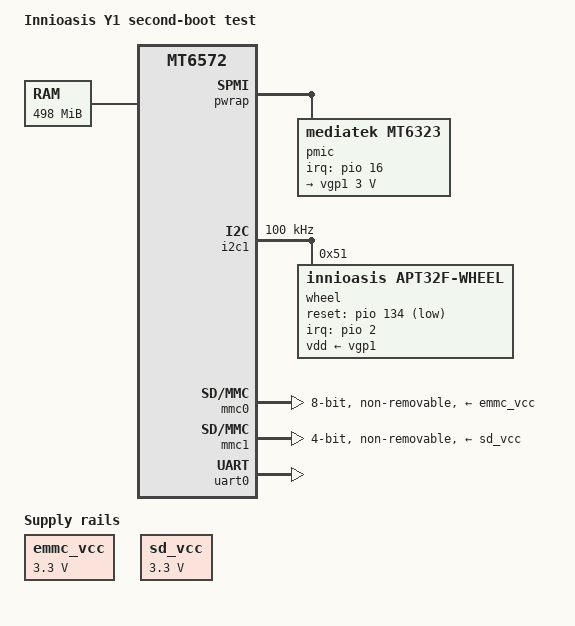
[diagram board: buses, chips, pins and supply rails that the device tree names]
// SPDX-License-Identifier: GPL-2.0-only
/*
 * Innioasis Y1 (MT6572) second-boot device tree (docs/planning/Y1-SECOND-BOOT-PLAN.md): the first-boot
 * tree plus the MT6572 clock, pin and PMIC-wrapper drivers, read-only eMMC and microSD, the APT32F wheel
 * on I2C1 and the MT6323 power key (the centre button). Facts: docs/knowledge/y1-hardware.md.
 * Deliberately absent: power domains, display, USB, audio, battery, charger, every PMIC regulator but
 * VGP1 (the two card supplies are fixed descriptions, not PMIC regulators).
 */
/dts-v1/;
#include <dt-bindings/gpio/gpio.h>
#include <dt-bindings/input/input.h>
#include "mt6572-fork.dtsi"

/ {
	model = "Innioasis Y1 second-boot test";
	compatible = "innioasis,y1", "mediatek,mt6572";

	aliases {
		serial0 = &uart0;
	};

	chosen {
		#address-cells = <1>;
		#size-cells = <1>;
		ranges;
		/* clk_ignore_unused: the clock driver must not gate the display clocks LK left running. */
		bootargs = "rdinit=/init earlycon console=ttyS0,921600n8 console=tty0 loglevel=8 ignore_loglevel panic=10 clk_ignore_unused";
		stdout-path = "serial0:921600n8";

		framebuffer@9fc00000 {
			compatible = "simple-framebuffer";
			reg = <0x9fc00000 (480 * 360 * 2)>;
			width = <480>;
			height = <360>;
			stride = <(480 * 2)>;
			format = "r5g6b5";
		};
	};

	/* As the first boot (confirmed there): stock System RAM; the 10 MiB at 0x9e000000 and the
	 * frame buffer stay out. */
	memory@80000000 {
		device_type = "memory";
		reg = <0x80000000 0x1e000000>, <0x9ea00000 0x01200000>;
	};

	/*
	 * Not PMIC regulators: fixed descriptions of the card rails LK leaves on (stock: VEMC_3V3 at 3.3 V),
	 * so mtk-sd knows their voltage. Without a vmmc supply it accepts no card voltage at all (second
	 * boot run 1: "no support for card's volts"). Linux switches nothing here.
	 */
	emmc_vcc: regulator-emmc-vcc {
		compatible = "regulator-fixed";
		regulator-name = "emmc-vcc";
		regulator-min-microvolt = <3300000>;
		regulator-max-microvolt = <3300000>;
		regulator-always-on;
	};

	sd_vcc: regulator-sd-vcc {
		compatible = "regulator-fixed";
		regulator-name = "sd-vcc";
		regulator-min-microvolt = <3300000>;
		regulator-max-microvolt = <3300000>;
		regulator-always-on;
	};
};

&pio {
	/* Stock 3.0.2 tpd_probe: GPIO136 mode 4 (EINT2), direction input, pull enabled and up. On paris
	 * input-enable sets only the input buffer; input-schmitt-enable is what sets the direction to input
	 * (run 3: "tried to flag a GPIO set as output for IRQ"). */
	wheel_pins: wheel-pins {
		pins-irq {
			pinmux = <MT6572_PIN_136_BPI_BUS6__FUNC_EINT2>;
			input-enable;
			input-schmitt-enable;
			bias-pull-up;
		};
	};
};

&pwrap {
	/* Not upstream mt6323.dtsi: that describes every regulator, and Linux may switch off any described,
	 * unused one. Only the power key and VGP1 exist here; the others stay as LK left them. */
	pmic: pmic {
		compatible = "mediatek,mt6323";
		/* Stock PMIC_EINT_SETTING: EINT16, level, active high. */
		interrupt-parent = <&pio>;
		interrupts = <16 IRQ_TYPE_LEVEL_HIGH>;
		interrupt-controller;
		#interrupt-cells = <2>;

		keys {
			compatible = "mediatek,mt6323-keys";
			/* The centre button (the Y1 has no power button). */
			power {
				linux,keycodes = <KEY_ENTER>;
			};
		};

		regulators {
			compatible = "mediatek,mt6323-regulator";

			/* The wheel controller's supply; stock hwPowerOn(5, 3000, "TP"). */
			vgp1: ldo_vgp1 {
				regulator-name = "vgp1";
				regulator-min-microvolt = <3000000>;
				regulator-max-microvolt = <3000000>;
			};
		};
	};
};

&i2c1 {
	status = "okay";
	clock-frequency = <100000>;

	wheel@51 {
		compatible = "innioasis,apt32f-wheel";
		reg = <0x51>;
		pinctrl-names = "default";
		pinctrl-0 = <&wheel_pins>;
		interrupt-parent = <&pio>;
		interrupts = <2 IRQ_TYPE_EDGE_FALLING>;
		reset-gpios = <&pio 134 GPIO_ACTIVE_LOW>;
		vdd-supply = <&vgp1>;
		/* reg3 bits 0-3: bottom, right, top, left (owner's getevent of stock 3.0.2). */
		linux,keycodes = <KEY_PLAYPAUSE KEY_NEXTSONG KEY_BACK KEY_PREVIOUSSONG>;
	};
};

/*
 * Storage, read by the test PID1 only: no filesystem driver is built, PID1 sets each disk read-only
 * before reading. Conservative bus modes, no supplies (LK leaves them on), and empty pin states that
 * keep the preloader's pin setup (mtk-sd requires both states to exist).
 */
&mmc0 {
	status = "okay";
	vmmc-supply = <&emmc_vcc>;
	pinctrl-names = "default", "state_uhs";
	pinctrl-0;
	pinctrl-1;
	bus-width = <8>;
	max-frequency = <50000000>;
	cap-mmc-highspeed;
	non-removable;
	no-sd;
	no-sdio;
};

&mmc1 {
	status = "okay";
	vmmc-supply = <&sd_vcc>;
	pinctrl-names = "default", "state_uhs";
	pinctrl-0;
	pinctrl-1;
	bus-width = <4>;
	max-frequency = <50000000>;
	cap-sd-highspeed;
	/* Card-detect pin unknown: probe once at boot (broken-cd polled every second and flooded the
	 * screen in run 1). A card must be inserted before power-on. */
	non-removable;
	no-1-8-v;
	no-mmc;
	no-sdio;
};

&uart0 {
	status = "okay";
};
